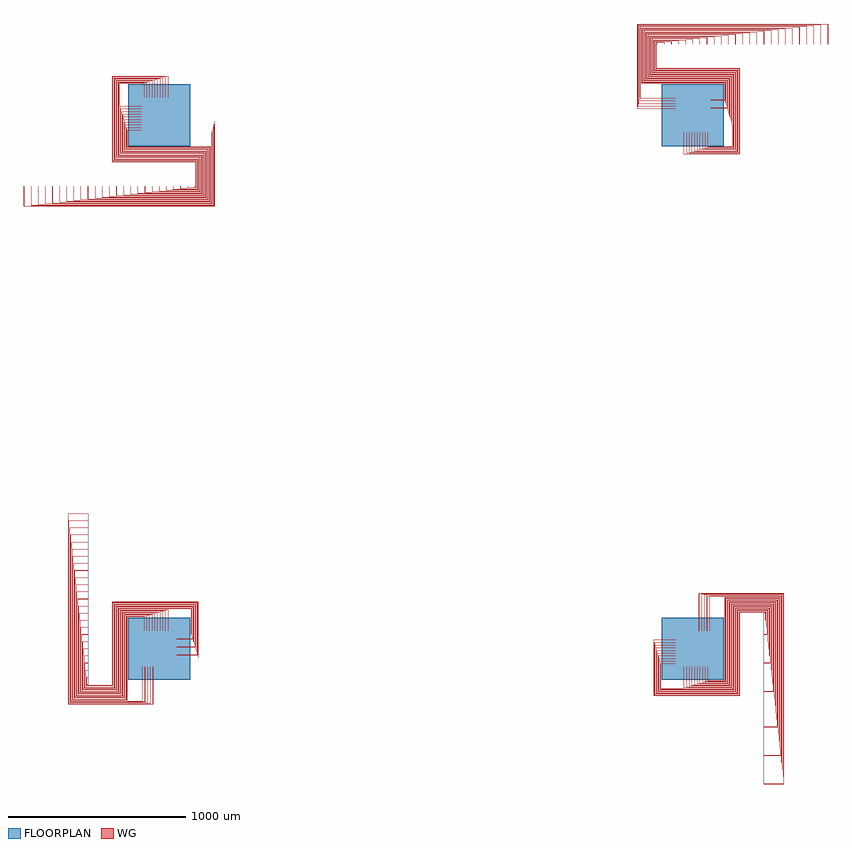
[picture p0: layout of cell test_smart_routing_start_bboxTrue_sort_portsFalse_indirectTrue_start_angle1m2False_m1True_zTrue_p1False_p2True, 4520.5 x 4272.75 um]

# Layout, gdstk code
import gdstk
lib = gdstk.Library(unit=1e-6, precision=1e-09)
def R(c, l, rs):  # rectangles x0, y0, x1, y1
    for r in rs: c.add(gdstk.rectangle(r[:2], r[2:], *l))
def P(c, l, *ps):  # polygons
    for p in ps: c.add(gdstk.Polygon(p, *l))
WG = (1, 0)
FLOORPLAN = (10, 0)

test_smart_routing_start = lib.new_cell('test_smart_routing_start_bboxTrue_sort_portsFalse_indirectTrue_start_angle1m2False_m1True_zTrue_p1False_p2True')
P(test_smart_routing_start, WG, [(-404.5,-204.75),(-404.5,-199.75),(-400,-199.75),(-400,-200.25),(-404,-200.25),(-404,-204.25),(-265,-204.25),(-265,265),(220,265),(220,-50.25),(100,-50.25),(100,-49.75),(219.5,-49.75),(219.5,264.5),(-264.5,264.5),(-264.5,-204.75)],
  [(-409,-209.25),(-409,-159.75),(-400,-159.75),(-400,-160.25),(-408.5,-160.25),(-408.5,-208.75),(-260.5,-208.75),(-260.5,260.5),(215.5,260.5),(215.5,-35.25),(100,-35.25),(100,-34.75),(215,-34.75),(215,260),(-260,260),(-260,-209.25)],
  [(-413.5,-213.75),(-413.5,-119.75),(-400,-119.75),(-400,-120.25),(-413,-120.25),(-413,-213.25),(-256,-213.25),(-256,256),(211,256),(211,-20.25),(100,-20.25),(100,-19.75),(210.5,-19.75),(210.5,255.5),(-255.5,255.5),(-255.5,-213.75)],
  [(-418,-218.25),(-418,-79.75),(-400,-79.75),(-400,-80.25),(-417.5,-80.25),(-417.5,-217.75),(-251.5,-217.75),(-251.5,251.5),(206.5,251.5),(206.5,-5.25),(100,-5.25),(100,-4.75),(206,-4.75),(206,251),(-251,251),(-251,-218.25)],
  [(-422.5,-222.75),(-422.5,-39.75),(-400,-39.75),(-400,-40.25),(-422,-40.25),(-422,-222.25),(-247,-222.25),(-247,247),(202,247),(202,9.75),(100,9.75),(100,10.25),(201.5,10.25),(201.5,246.5),(-246.5,246.5),(-246.5,-222.75)],
  [(-427,-227.25),(-427,0.25),(-400,0.25),(-400,-0.25),(-426.5,-0.25),(-426.5,-226.75),(-242.5,-226.75),(-242.5,242.5),(197.5,242.5),(197.5,24.75),(100,24.75),(100,25.25),(197,25.25),(197,242),(-242,242),(-242,-227.25)],
  [(-431.5,-231.75),(-431.5,40.25),(-400,40.25),(-400,39.75),(-431,39.75),(-431,-231.25),(-238,-231.25),(-238,238),(193,238),(193,39.75),(100,39.75),(100,40.25),(192.5,40.25),(192.5,237.5),(-237.5,237.5),(-237.5,-231.75)],
  [(-436,-236.25),(-436,80.25),(-400,80.25),(-400,79.75),(-435.5,79.75),(-435.5,-235.75),(-233.5,-235.75),(-233.5,233.5),(188.5,233.5),(188.5,54.75),(100,54.75),(100,55.25),(188,55.25),(188,233),(-233,233),(-233,-236.25)],
  [(-440.5,-240.75),(-440.5,120.25),(-400,120.25),(-400,119.75),(-440,119.75),(-440,-240.25),(-229,-240.25),(-229,229),(184,229),(184,69.75),(100,69.75),(100,70.25),(183.5,70.25),(183.5,228.5),(-228.5,228.5),(-228.5,-240.75)],
  [(-445,-245.25),(-445,160.25),(-400,160.25),(-400,159.75),(-444.5,159.75),(-444.5,-244.75),(-224.5,-244.75),(-224.5,224.5),(179.5,224.5),(179.5,84.75),(100,84.75),(100,85.25),(179,85.25),(179,224),(-224,224),(-224,-245.25)],
  [(-449.5,-249.75),(-449.5,200.25),(-400,200.25),(-400,199.75),(-449,199.75),(-449,-249.25),(-220,-249.25),(-220,220),(50.25,220),(50.25,100),(49.75,100),(49.75,219.5),(-219.5,219.5),(-219.5,-249.75)],
  [(-454,-254.25),(-454,240.25),(-400,240.25),(-400,239.75),(-453.5,239.75),(-453.5,-253.75),(-215.5,-253.75),(-215.5,215.5),(35.25,215.5),(35.25,100),(34.75,100),(34.75,215),(-215,215),(-215,-254.25)],
  [(-458.5,-258.75),(-458.5,280.25),(-400,280.25),(-400,279.75),(-458,279.75),(-458,-258.25),(-211,-258.25),(-211,211),(20.25,211),(20.25,100),(19.75,100),(19.75,210.5),(-210.5,210.5),(-210.5,-258.75)],
  [(-463,-263.25),(-463,320.25),(-400,320.25),(-400,319.75),(-462.5,319.75),(-462.5,-262.75),(-206.5,-262.75),(-206.5,206.5),(5.25,206.5),(5.25,100),(4.75,100),(4.75,206),(-206,206),(-206,-263.25)],
  [(-467.5,-267.75),(-467.5,360.25),(-400,360.25),(-400,359.75),(-467,359.75),(-467,-267.25),(-202,-267.25),(-202,202),(-9.75,202),(-9.75,100),(-10.25,100),(-10.25,201.5),(-201.5,201.5),(-201.5,-267.75)],
  [(-472,-272.25),(-472,400.25),(-400,400.25),(-400,399.75),(-471.5,399.75),(-471.5,-271.75),(-197.5,-271.75),(-197.5,197.5),(-24.75,197.5),(-24.75,100),(-25.25,100),(-25.25,197),(-197,197),(-197,-272.25)],
  [(-476.5,-276.75),(-476.5,440.25),(-400,440.25),(-400,439.75),(-476,439.75),(-476,-276.25),(-193,-276.25),(-193,193),(-39.75,193),(-39.75,100),(-40.25,100),(-40.25,192.5),(-192.5,192.5),(-192.5,-276.75)],
  [(-481,-281.25),(-481,480.25),(-400,480.25),(-400,479.75),(-480.5,479.75),(-480.5,-280.75),(-188.5,-280.75),(-188.5,188.5),(-54.75,188.5),(-54.75,100),(-55.25,100),(-55.25,188),(-188,188),(-188,-281.25)],
  [(-485.5,-285.75),(-485.5,520.25),(-400,520.25),(-400,519.75),(-485,519.75),(-485,-285.25),(-184,-285.25),(-184,184),(-69.75,184),(-69.75,100),(-70.25,100),(-70.25,183.5),(-183.5,183.5),(-183.5,-285.75)],
  [(-490,-290.25),(-490,560.25),(-400,560.25),(-400,559.75),(-489.5,559.75),(-489.5,-289.75),(-179.5,-289.75),(-179.5,179.5),(-84.75,179.5),(-84.75,100),(-85.25,100),(-85.25,179),(-179,179),(-179,-290.25)],
  [(-512.5,-312.75),(-512.5,760.25),(-400,760.25),(-400,759.75),(-512,759.75),(-512,-312.25),(-35.25,-312.25),(-35.25,-100),(-34.75,-100),(-34.75,-312.75)],
  [(-508,-308.25),(-508,720.25),(-400,720.25),(-400,719.75),(-507.5,719.75),(-507.5,-307.75),(-50.25,-307.75),(-50.25,-100),(-49.75,-100),(-49.75,-308.25)],
  [(-503.5,-303.75),(-503.5,680.25),(-400,680.25),(-400,679.75),(-503,679.75),(-503,-303.25),(-65.25,-303.25),(-65.25,-100),(-64.75,-100),(-64.75,-303.75)],
  [(-499,-299.25),(-499,640.25),(-400,640.25),(-400,639.75),(-498.5,639.75),(-498.5,-298.75),(-80.25,-298.75),(-80.25,-100),(-79.75,-100),(-79.75,-299.25)],
  [(-494.5,-294.75),(-494.5,600.25),(-400,600.25),(-400,599.75),(-494,599.75),(-494,-294.25),(-95.25,-294.25),(-95.25,-100),(-94.75,-100),(-94.75,-294.75)],
  [(199.75,2595.5),(199.75,2600),(200.25,2600),(200.25,2596),(204.25,2596),(204.25,2735),(-265,2735),(-265,3220),(50.25,3220),(50.25,3100),(49.75,3100),(49.75,3219.5),(-264.5,3219.5),(-264.5,2735.5),(204.75,2735.5),(204.75,2595.5)],
  [(159.75,2591),(159.75,2600),(160.25,2600),(160.25,2591.5),(208.75,2591.5),(208.75,2739.5),(-260.5,2739.5),(-260.5,3215.5),(35.25,3215.5),(35.25,3100),(34.75,3100),(34.75,3215),(-260,3215),(-260,2740),(209.25,2740),(209.25,2591)],
  [(119.75,2586.5),(119.75,2600),(120.25,2600),(120.25,2587),(213.25,2587),(213.25,2744),(-256,2744),(-256,3211),(20.25,3211),(20.25,3100),(19.75,3100),(19.75,3210.5),(-255.5,3210.5),(-255.5,2744.5),(213.75,2744.5),(213.75,2586.5)],
  [(79.75,2582),(79.75,2600),(80.25,2600),(80.25,2582.5),(217.75,2582.5),(217.75,2748.5),(-251.5,2748.5),(-251.5,3206.5),(5.25,3206.5),(5.25,3100),(4.75,3100),(4.75,3206),(-251,3206),(-251,2749),(218.25,2749),(218.25,2582)],
  [(39.75,2577.5),(39.75,2600),(40.25,2600),(40.25,2578),(222.25,2578),(222.25,2753),(-247,2753),(-247,3202),(-9.75,3202),(-9.75,3100),(-10.25,3100),(-10.25,3201.5),(-246.5,3201.5),(-246.5,2753.5),(222.75,2753.5),(222.75,2577.5)],
  [(-0.25,2573),(-0.25,2600),(0.25,2600),(0.25,2573.5),(226.75,2573.5),(226.75,2757.5),(-242.5,2757.5),(-242.5,3197.5),(-24.75,3197.5),(-24.75,3100),(-25.25,3100),(-25.25,3197),(-242,3197),(-242,2758),(227.25,2758),(227.25,2573)],
  [(-40.25,2568.5),(-40.25,2600),(-39.75,2600),(-39.75,2569),(231.25,2569),(231.25,2762),(-238,2762),(-238,3193),(-39.75,3193),(-39.75,3100),(-40.25,3100),(-40.25,3192.5),(-237.5,3192.5),(-237.5,2762.5),(231.75,2762.5),(231.75,2568.5)],
  [(-80.25,2564),(-80.25,2600),(-79.75,2600),(-79.75,2564.5),(235.75,2564.5),(235.75,2766.5),(-233.5,2766.5),(-233.5,3188.5),(-54.75,3188.5),(-54.75,3100),(-55.25,3100),(-55.25,3188),(-233,3188),(-233,2767),(236.25,2767),(236.25,2564)],
  [(-120.25,2559.5),(-120.25,2600),(-119.75,2600),(-119.75,2560),(240.25,2560),(240.25,2771),(-229,2771),(-229,3184),(-69.75,3184),(-69.75,3100),(-70.25,3100),(-70.25,3183.5),(-228.5,3183.5),(-228.5,2771.5),(240.75,2771.5),(240.75,2559.5)],
  [(-160.25,2555),(-160.25,2600),(-159.75,2600),(-159.75,2555.5),(244.75,2555.5),(244.75,2775.5),(-224.5,2775.5),(-224.5,3179.5),(-84.75,3179.5),(-84.75,3100),(-85.25,3100),(-85.25,3179),(-224,3179),(-224,2776),(245.25,2776),(245.25,2555)],
  [(-200.25,2550.5),(-200.25,2600),(-199.75,2600),(-199.75,2551),(249.25,2551),(249.25,2780),(-220,2780),(-220,3050.25),(-100,3050.25),(-100,3049.75),(-219.5,3049.75),(-219.5,2780.5),(249.75,2780.5),(249.75,2550.5)],
  [(-240.25,2546),(-240.25,2600),(-239.75,2600),(-239.75,2546.5),(253.75,2546.5),(253.75,2784.5),(-215.5,2784.5),(-215.5,3035.25),(-100,3035.25),(-100,3034.75),(-215,3034.75),(-215,2785),(254.25,2785),(254.25,2546)],
  [(-280.25,2541.5),(-280.25,2600),(-279.75,2600),(-279.75,2542),(258.25,2542),(258.25,2789),(-211,2789),(-211,3020.25),(-100,3020.25),(-100,3019.75),(-210.5,3019.75),(-210.5,2789.5),(258.75,2789.5),(258.75,2541.5)],
  [(-320.25,2537),(-320.25,2600),(-319.75,2600),(-319.75,2537.5),(262.75,2537.5),(262.75,2793.5),(-206.5,2793.5),(-206.5,3005.25),(-100,3005.25),(-100,3004.75),(-206,3004.75),(-206,2794),(263.25,2794),(263.25,2537)],
  [(-360.25,2532.5),(-360.25,2600),(-359.75,2600),(-359.75,2533),(267.25,2533),(267.25,2798),(-202,2798),(-202,2990.25),(-100,2990.25),(-100,2989.75),(-201.5,2989.75),(-201.5,2798.5),(267.75,2798.5),(267.75,2532.5)],
  [(-400.25,2528),(-400.25,2600),(-399.75,2600),(-399.75,2528.5),(271.75,2528.5),(271.75,2802.5),(-197.5,2802.5),(-197.5,2975.25),(-100,2975.25),(-100,2974.75),(-197,2974.75),(-197,2803),(272.25,2803),(272.25,2528)],
  [(-440.25,2523.5),(-440.25,2600),(-439.75,2600),(-439.75,2524),(276.25,2524),(276.25,2807),(-193,2807),(-193,2960.25),(-100,2960.25),(-100,2959.75),(-192.5,2959.75),(-192.5,2807.5),(276.75,2807.5),(276.75,2523.5)],
  [(-480.25,2519),(-480.25,2600),(-479.75,2600),(-479.75,2519.5),(280.75,2519.5),(280.75,2811.5),(-188.5,2811.5),(-188.5,2945.25),(-100,2945.25),(-100,2944.75),(-188,2944.75),(-188,2812),(281.25,2812),(281.25,2519)],
  [(-520.25,2514.5),(-520.25,2600),(-519.75,2600),(-519.75,2515),(285.25,2515),(285.25,2816),(-184,2816),(-184,2930.25),(-100,2930.25),(-100,2929.75),(-183.5,2929.75),(-183.5,2816.5),(285.75,2816.5),(285.75,2514.5)],
  [(-560.25,2510),(-560.25,2600),(-559.75,2600),(-559.75,2510.5),(289.75,2510.5),(289.75,2820.5),(-179.5,2820.5),(-179.5,2915.25),(-100,2915.25),(-100,2914.75),(-179,2914.75),(-179,2821),(290.25,2821),(290.25,2510)],
  [(-760.25,2487.5),(-760.25,2600),(-759.75,2600),(-759.75,2488),(312.25,2488),(312.25,2964.75),(100,2964.75),(100,2965.25),(312.75,2965.25),(312.75,2487.5)],
  [(-720.25,2492),(-720.25,2600),(-719.75,2600),(-719.75,2492.5),(307.75,2492.5),(307.75,2949.75),(100,2949.75),(100,2950.25),(308.25,2950.25),(308.25,2492)],
  [(-680.25,2496.5),(-680.25,2600),(-679.75,2600),(-679.75,2497),(303.25,2497),(303.25,2934.75),(100,2934.75),(100,2935.25),(303.75,2935.25),(303.75,2496.5)],
  [(-640.25,2501),(-640.25,2600),(-639.75,2600),(-639.75,2501.5),(298.75,2501.5),(298.75,2919.75),(100,2919.75),(100,2920.25),(299.25,2920.25),(299.25,2501)],
  [(-600.25,2505.5),(-600.25,2600),(-599.75,2600),(-599.75,2506),(294.25,2506),(294.25,2904.75),(100,2904.75),(100,2905.25),(294.75,2905.25),(294.75,2505.5)],
  [(2780,-265),(2780,50.25),(2900,50.25),(2900,49.75),(2780.5,49.75),(2780.5,-264.5),(3264.5,-264.5),(3264.5,204.75),(3404.5,204.75),(3404.5,199.75),(3400,199.75),(3400,200.25),(3404,200.25),(3404,204.25),(3265,204.25),(3265,-265)],
  [(2784.5,-260.5),(2784.5,35.25),(2900,35.25),(2900,34.75),(2785,34.75),(2785,-260),(3260,-260),(3260,209.25),(3409,209.25),(3409,159.75),(3400,159.75),(3400,160.25),(3408.5,160.25),(3408.5,208.75),(3260.5,208.75),(3260.5,-260.5)],
  [(2789,-256),(2789,20.25),(2900,20.25),(2900,19.75),(2789.5,19.75),(2789.5,-255.5),(3255.5,-255.5),(3255.5,213.75),(3413.5,213.75),(3413.5,119.75),(3400,119.75),(3400,120.25),(3413,120.25),(3413,213.25),(3256,213.25),(3256,-256)],
  [(2793.5,-251.5),(2793.5,5.25),(2900,5.25),(2900,4.75),(2794,4.75),(2794,-251),(3251,-251),(3251,218.25),(3418,218.25),(3418,79.75),(3400,79.75),(3400,80.25),(3417.5,80.25),(3417.5,217.75),(3251.5,217.75),(3251.5,-251.5)],
  [(2798,-247),(2798,-9.75),(2900,-9.75),(2900,-10.25),(2798.5,-10.25),(2798.5,-246.5),(3246.5,-246.5),(3246.5,222.75),(3422.5,222.75),(3422.5,39.75),(3400,39.75),(3400,40.25),(3422,40.25),(3422,222.25),(3247,222.25),(3247,-247)],
  [(2802.5,-242.5),(2802.5,-24.75),(2900,-24.75),(2900,-25.25),(2803,-25.25),(2803,-242),(3242,-242),(3242,227.25),(3427,227.25),(3427,-0.25),(3400,-0.25),(3400,0.25),(3426.5,0.25),(3426.5,226.75),(3242.5,226.75),(3242.5,-242.5)],
  [(2807,-238),(2807,-39.75),(2900,-39.75),(2900,-40.25),(2807.5,-40.25),(2807.5,-237.5),(3237.5,-237.5),(3237.5,231.75),(3431.5,231.75),(3431.5,-40.25),(3400,-40.25),(3400,-39.75),(3431,-39.75),(3431,231.25),(3238,231.25),(3238,-238)],
  [(2811.5,-233.5),(2811.5,-54.75),(2900,-54.75),(2900,-55.25),(2812,-55.25),(2812,-233),(3233,-233),(3233,236.25),(3436,236.25),(3436,-80.25),(3400,-80.25),(3400,-79.75),(3435.5,-79.75),(3435.5,235.75),(3233.5,235.75),(3233.5,-233.5)],
  [(2816,-229),(2816,-69.75),(2900,-69.75),(2900,-70.25),(2816.5,-70.25),(2816.5,-228.5),(3228.5,-228.5),(3228.5,240.75),(3440.5,240.75),(3440.5,-120.25),(3400,-120.25),(3400,-119.75),(3440,-119.75),(3440,240.25),(3229,240.25),(3229,-229)],
  [(2820.5,-224.5),(2820.5,-84.75),(2900,-84.75),(2900,-85.25),(2821,-85.25),(2821,-224),(3224,-224),(3224,245.25),(3445,245.25),(3445,-160.25),(3400,-160.25),(3400,-159.75),(3444.5,-159.75),(3444.5,244.75),(3224.5,244.75),(3224.5,-224.5)],
  [(2949.75,-220),(2949.75,-100),(2950.25,-100),(2950.25,-219.5),(3219.5,-219.5),(3219.5,249.75),(3449.5,249.75),(3449.5,-200.25),(3400,-200.25),(3400,-199.75),(3449,-199.75),(3449,249.25),(3220,249.25),(3220,-220)],
  [(3400,-240.25),(3400,-239.75),(3453.5,-239.75),(3453.5,253.75),(3215.5,253.75),(3215.5,-215.5),(2964.75,-215.5),(2964.75,-100),(2965.25,-100),(2965.25,-215),(3215,-215),(3215,254.25),(3454,254.25),(3454,-240.25)],
  [(3400,-280.25),(3400,-279.75),(3458,-279.75),(3458,258.25),(3211,258.25),(3211,-211),(2979.75,-211),(2979.75,-100),(2980.25,-100),(2980.25,-210.5),(3210.5,-210.5),(3210.5,258.75),(3458.5,258.75),(3458.5,-280.25)],
  [(3400,-320.25),(3400,-319.75),(3462.5,-319.75),(3462.5,262.75),(3206.5,262.75),(3206.5,-206.5),(2994.75,-206.5),(2994.75,-100),(2995.25,-100),(2995.25,-206),(3206,-206),(3206,263.25),(3463,263.25),(3463,-320.25)],
  [(3400,-360.25),(3400,-359.75),(3467,-359.75),(3467,267.25),(3202,267.25),(3202,-202),(3009.75,-202),(3009.75,-100),(3010.25,-100),(3010.25,-201.5),(3201.5,-201.5),(3201.5,267.75),(3467.5,267.75),(3467.5,-360.25)],
  [(3400,-400.25),(3400,-399.75),(3471.5,-399.75),(3471.5,271.75),(3197.5,271.75),(3197.5,-197.5),(3024.75,-197.5),(3024.75,-100),(3025.25,-100),(3025.25,-197),(3197,-197),(3197,272.25),(3472,272.25),(3472,-400.25)],
  [(3400,-440.25),(3400,-439.75),(3476,-439.75),(3476,276.25),(3193,276.25),(3193,-193),(3039.75,-193),(3039.75,-100),(3040.25,-100),(3040.25,-192.5),(3192.5,-192.5),(3192.5,276.75),(3476.5,276.75),(3476.5,-440.25)],
  [(3400,-480.25),(3400,-479.75),(3480.5,-479.75),(3480.5,280.75),(3188.5,280.75),(3188.5,-188.5),(3054.75,-188.5),(3054.75,-100),(3055.25,-100),(3055.25,-188),(3188,-188),(3188,281.25),(3481,281.25),(3481,-480.25)],
  [(3400,-520.25),(3400,-519.75),(3485,-519.75),(3485,285.25),(3184,285.25),(3184,-184),(3069.75,-184),(3069.75,-100),(3070.25,-100),(3070.25,-183.5),(3183.5,-183.5),(3183.5,285.75),(3485.5,285.75),(3485.5,-520.25)],
  [(3400,-560.25),(3400,-559.75),(3489.5,-559.75),(3489.5,289.75),(3179.5,289.75),(3179.5,-179.5),(3084.75,-179.5),(3084.75,-100),(3085.25,-100),(3085.25,-179),(3179,-179),(3179,290.25),(3490,290.25),(3490,-560.25)],
  [(3400,-760.25),(3400,-759.75),(3512,-759.75),(3512,312.25),(3035.25,312.25),(3035.25,100),(3034.75,100),(3034.75,312.75),(3512.5,312.75),(3512.5,-760.25)],
  [(3400,-720.25),(3400,-719.75),(3507.5,-719.75),(3507.5,307.75),(3050.25,307.75),(3050.25,100),(3049.75,100),(3049.75,308.25),(3508,308.25),(3508,-720.25)],
  [(3400,-680.25),(3400,-679.75),(3503,-679.75),(3503,303.25),(3065.25,303.25),(3065.25,100),(3064.75,100),(3064.75,303.75),(3503.5,303.75),(3503.5,-680.25)],
  [(3400,-640.25),(3400,-639.75),(3498.5,-639.75),(3498.5,298.75),(3080.25,298.75),(3080.25,100),(3079.75,100),(3079.75,299.25),(3499,299.25),(3499,-640.25)],
  [(3400,-600.25),(3400,-599.75),(3494,-599.75),(3494,294.25),(3095.25,294.25),(3095.25,100),(3094.75,100),(3094.75,294.75),(3494.5,294.75),(3494.5,-600.25)],
  [(2949.75,2780),(2949.75,2900),(2950.25,2900),(2950.25,2780.5),(3264.5,2780.5),(3264.5,3264.5),(2795.25,3264.5),(2795.25,3404.5),(2800.25,3404.5),(2800.25,3400),(2799.75,3400),(2799.75,3404),(2795.75,3404),(2795.75,3265),(3265,3265),(3265,2780)],
  [(2964.75,2784.5),(2964.75,2900),(2965.25,2900),(2965.25,2785),(3260,2785),(3260,3260),(2790.75,3260),(2790.75,3409),(2840.25,3409),(2840.25,3400),(2839.75,3400),(2839.75,3408.5),(2791.25,3408.5),(2791.25,3260.5),(3260.5,3260.5),(3260.5,2784.5)],
  [(2979.75,2789),(2979.75,2900),(2980.25,2900),(2980.25,2789.5),(3255.5,2789.5),(3255.5,3255.5),(2786.25,3255.5),(2786.25,3413.5),(2880.25,3413.5),(2880.25,3400),(2879.75,3400),(2879.75,3413),(2786.75,3413),(2786.75,3256),(3256,3256),(3256,2789)],
  [(2994.75,2793.5),(2994.75,2900),(2995.25,2900),(2995.25,2794),(3251,2794),(3251,3251),(2781.75,3251),(2781.75,3418),(2920.25,3418),(2920.25,3400),(2919.75,3400),(2919.75,3417.5),(2782.25,3417.5),(2782.25,3251.5),(3251.5,3251.5),(3251.5,2793.5)],
  [(3009.75,2798),(3009.75,2900),(3010.25,2900),(3010.25,2798.5),(3246.5,2798.5),(3246.5,3246.5),(2777.25,3246.5),(2777.25,3422.5),(2960.25,3422.5),(2960.25,3400),(2959.75,3400),(2959.75,3422),(2777.75,3422),(2777.75,3247),(3247,3247),(3247,2798)],
  [(3024.75,2802.5),(3024.75,2900),(3025.25,2900),(3025.25,2803),(3242,2803),(3242,3242),(2772.75,3242),(2772.75,3427),(3000.25,3427),(3000.25,3400),(2999.75,3400),(2999.75,3426.5),(2773.25,3426.5),(2773.25,3242.5),(3242.5,3242.5),(3242.5,2802.5)],
  [(3039.75,2807),(3039.75,2900),(3040.25,2900),(3040.25,2807.5),(3237.5,2807.5),(3237.5,3237.5),(2768.25,3237.5),(2768.25,3431.5),(3040.25,3431.5),(3040.25,3400),(3039.75,3400),(3039.75,3431),(2768.75,3431),(2768.75,3238),(3238,3238),(3238,2807)],
  [(3054.75,2811.5),(3054.75,2900),(3055.25,2900),(3055.25,2812),(3233,2812),(3233,3233),(2763.75,3233),(2763.75,3436),(3080.25,3436),(3080.25,3400),(3079.75,3400),(3079.75,3435.5),(2764.25,3435.5),(2764.25,3233.5),(3233.5,3233.5),(3233.5,2811.5)],
  [(3069.75,2816),(3069.75,2900),(3070.25,2900),(3070.25,2816.5),(3228.5,2816.5),(3228.5,3228.5),(2759.25,3228.5),(2759.25,3440.5),(3120.25,3440.5),(3120.25,3400),(3119.75,3400),(3119.75,3440),(2759.75,3440),(2759.75,3229),(3229,3229),(3229,2816)],
  [(3084.75,2820.5),(3084.75,2900),(3085.25,2900),(3085.25,2821),(3224,2821),(3224,3224),(2754.75,3224),(2754.75,3445),(3160.25,3445),(3160.25,3400),(3159.75,3400),(3159.75,3444.5),(2755.25,3444.5),(2755.25,3224.5),(3224.5,3224.5),(3224.5,2820.5)],
  [(3100,2949.75),(3100,2950.25),(3219.5,2950.25),(3219.5,3219.5),(2750.25,3219.5),(2750.25,3449.5),(3200.25,3449.5),(3200.25,3400),(3199.75,3400),(3199.75,3449),(2750.75,3449),(2750.75,3220),(3220,3220),(3220,2949.75)],
  [(3100,2964.75),(3100,2965.25),(3215,2965.25),(3215,3215),(2745.75,3215),(2745.75,3454),(3240.25,3454),(3240.25,3400),(3239.75,3400),(3239.75,3453.5),(2746.25,3453.5),(2746.25,3215.5),(3215.5,3215.5),(3215.5,2964.75)],
  [(3100,2979.75),(3100,2980.25),(3210.5,2980.25),(3210.5,3210.5),(2741.25,3210.5),(2741.25,3458.5),(3280.25,3458.5),(3280.25,3400),(3279.75,3400),(3279.75,3458),(2741.75,3458),(2741.75,3211),(3211,3211),(3211,2979.75)],
  [(3100,2994.75),(3100,2995.25),(3206,2995.25),(3206,3206),(2736.75,3206),(2736.75,3463),(3320.25,3463),(3320.25,3400),(3319.75,3400),(3319.75,3462.5),(2737.25,3462.5),(2737.25,3206.5),(3206.5,3206.5),(3206.5,2994.75)],
  [(3100,3009.75),(3100,3010.25),(3201.5,3010.25),(3201.5,3201.5),(2732.25,3201.5),(2732.25,3467.5),(3360.25,3467.5),(3360.25,3400),(3359.75,3400),(3359.75,3467),(2732.75,3467),(2732.75,3202),(3202,3202),(3202,3009.75)],
  [(3100,3024.75),(3100,3025.25),(3197,3025.25),(3197,3197),(2727.75,3197),(2727.75,3472),(3400.25,3472),(3400.25,3400),(3399.75,3400),(3399.75,3471.5),(2728.25,3471.5),(2728.25,3197.5),(3197.5,3197.5),(3197.5,3024.75)],
  [(3100,3039.75),(3100,3040.25),(3192.5,3040.25),(3192.5,3192.5),(2723.25,3192.5),(2723.25,3476.5),(3440.25,3476.5),(3440.25,3400),(3439.75,3400),(3439.75,3476),(2723.75,3476),(2723.75,3193),(3193,3193),(3193,3039.75)],
  [(3100,3054.75),(3100,3055.25),(3188,3055.25),(3188,3188),(2718.75,3188),(2718.75,3481),(3480.25,3481),(3480.25,3400),(3479.75,3400),(3479.75,3480.5),(2719.25,3480.5),(2719.25,3188.5),(3188.5,3188.5),(3188.5,3054.75)],
  [(3100,3069.75),(3100,3070.25),(3183.5,3070.25),(3183.5,3183.5),(2714.25,3183.5),(2714.25,3485.5),(3520.25,3485.5),(3520.25,3400),(3519.75,3400),(3519.75,3485),(2714.75,3485),(2714.75,3184),(3184,3184),(3184,3069.75)],
  [(3100,3084.75),(3100,3085.25),(3179,3085.25),(3179,3179),(2709.75,3179),(2709.75,3490),(3560.25,3490),(3560.25,3400),(3559.75,3400),(3559.75,3489.5),(2710.25,3489.5),(2710.25,3179.5),(3179.5,3179.5),(3179.5,3084.75)],
  [(2687.25,3034.75),(2687.25,3512.5),(3760.25,3512.5),(3760.25,3400),(3759.75,3400),(3759.75,3512),(2687.75,3512),(2687.75,3035.25),(2900,3035.25),(2900,3034.75)],
  [(2691.75,3049.75),(2691.75,3508),(3720.25,3508),(3720.25,3400),(3719.75,3400),(3719.75,3507.5),(2692.25,3507.5),(2692.25,3050.25),(2900,3050.25),(2900,3049.75)],
  [(2696.25,3064.75),(2696.25,3503.5),(3680.25,3503.5),(3680.25,3400),(3679.75,3400),(3679.75,3503),(2696.75,3503),(2696.75,3065.25),(2900,3065.25),(2900,3064.75)],
  [(2700.75,3079.75),(2700.75,3499),(3640.25,3499),(3640.25,3400),(3639.75,3400),(3639.75,3498.5),(2701.25,3498.5),(2701.25,3080.25),(2900,3080.25),(2900,3079.75)],
  [(2705.25,3094.75),(2705.25,3494.5),(3600.25,3494.5),(3600.25,3400),(3599.75,3400),(3599.75,3494),(2705.75,3494),(2705.75,3095.25),(2900,3095.25),(2900,3094.75)])
R(test_smart_routing_start, FLOORPLAN, [(-175,-175,175,175), (2825,-175,3175,175), (-175,2825,175,3175), (2825,2825,3175,3175)])
P(test_smart_routing_start, FLOORPLAN, [(-400,-200),(-400,760),(-400,760),(-400,-200)],
  [(-760,2600),(-760,2600),(200,2600),(200,2600)],
  [(3400,-760),(3400,200),(3400,200),(3400,-760)],
  [(2800,3400),(2800,3400),(3760,3400),(3760,3400)])

lib.write_gds('test_smart_routing_start_bboxTrue_sort_portsFalse_indirectTrue_start_angle1m2False_m1True_zTrue_p1False_p2True.gds')
